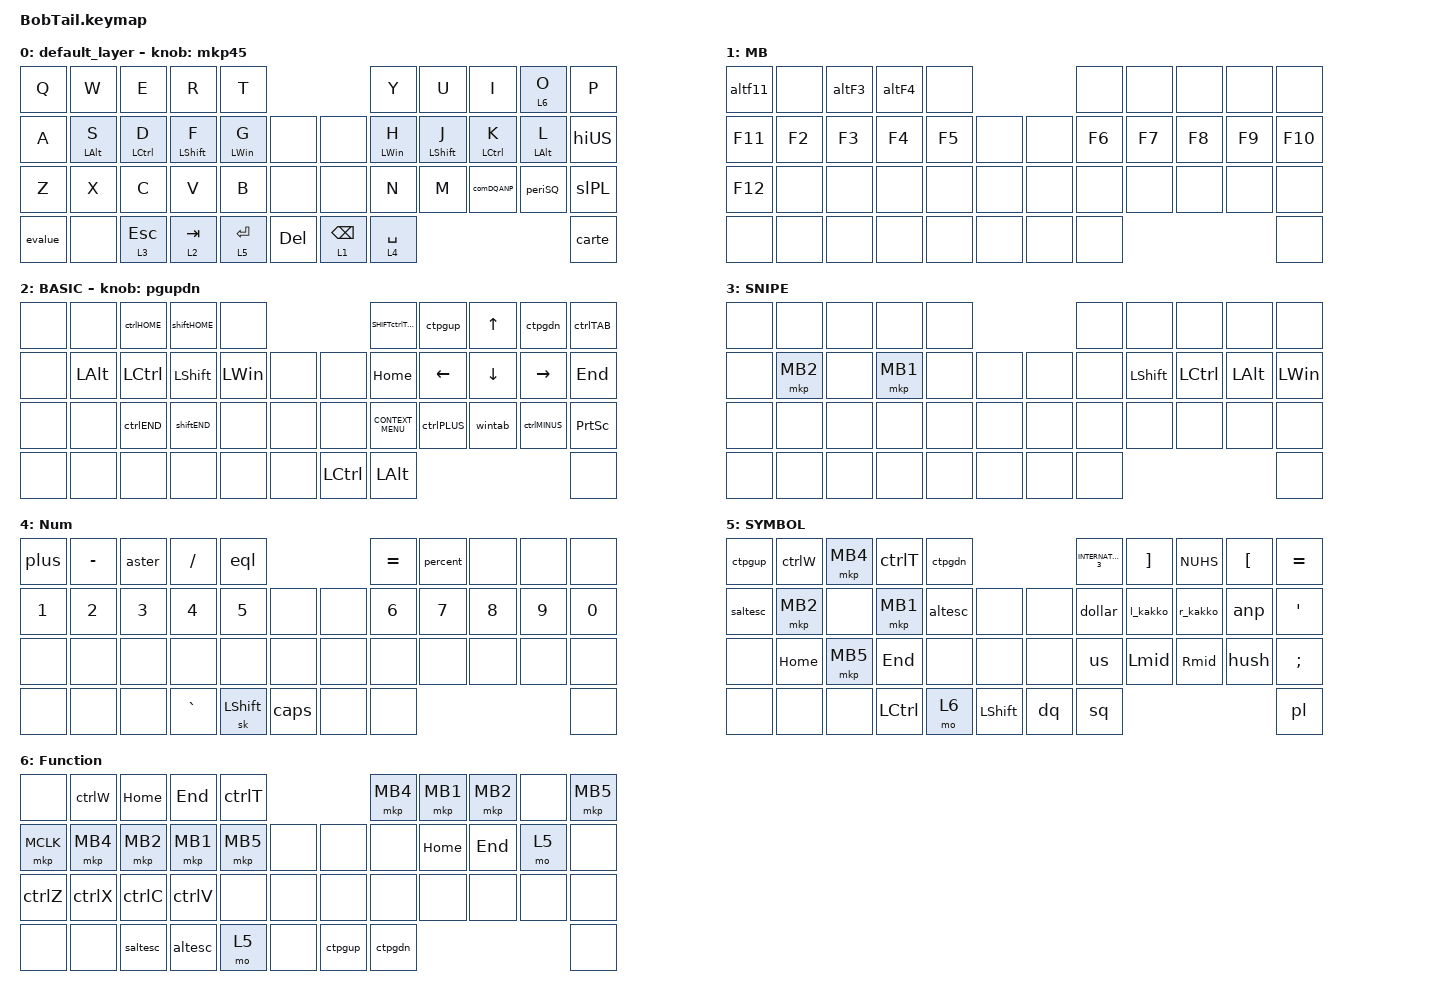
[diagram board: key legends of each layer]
#include <input/processors.dtsi>
#include <behaviors.dtsi>
#include <dt-bindings/zmk/keys.h>
#include <dt-bindings/zmk/pointing.h>

#define MOUSE 4
#define SCROLL 5
#define NUM 6
#define ZMK_POINTING_DEFAULT_SCRL_VAL 40

&mt {
    flavor = "balanced";
    quick-tap-ms = <0>;
};

/ {
    combos {
        compatible = "zmk,combos";

        L_MKK {
            bindings = <&kp RBKT>;
            key-positions = <2 12>;
        };

        R_MKK {
            bindings = <&kp NUHS>;
            key-positions = <7 19>;
        };

        L_KK {
            bindings = <&l_kakko>;
            key-positions = <3 13>;
        };

        R_KK {
            bindings = <&r_kakko>;
            key-positions = <6 18>;
        };

        Rmid {
            bindings = <&Rmid>;
            key-positions = <8 20>;
        };

        Lmid {
            bindings = <&Lmid>;
            key-positions = <1 11>;
        };

        pl {
            bindings = <&pl>;
            key-positions = <14 26>;
        };
    };

    behaviors {
        encoder_msc_down_up: encoder_msc_down_up {
            compatible = "zmk,behavior-sensor-rotate";
            label = "ENCODER_MSC_DOWN_UP";
            #sensor-binding-cells = <0>;
            bindings = <&msc SCRL_UP>, <&msc SCRL_DOWN>;

            tap-ms = <20>;
        };

        ctPLMI: ctPLMI {
            compatible = "zmk,behavior-sensor-rotate";
            label = "CTPLMI";
            #sensor-binding-cells = <0>;
            bindings = <&ctrlPLUS>, <&ctrlMINUS>;

            tap-ms = <20>;
        };

        mkp45: mkp45 {
            compatible = "zmk,behavior-sensor-rotate";
            label = "MKP45";
            #sensor-binding-cells = <0>;
            bindings = <&mkp MB4>, <&mkp MB5>;

            tap-ms = <20>;
        };

        appch: appch {
            compatible = "zmk,behavior-sensor-rotate";
            label = "APPCH";
            #sensor-binding-cells = <0>;
            bindings = <&altesc>, <&saltesc>;

            tap-ms = <20>;
        };

        pgupdn: pgupdn {
            compatible = "zmk,behavior-sensor-rotate";
            label = "PGUPDN";
            #sensor-binding-cells = <0>;
            bindings = <&kp PG_UP>, <&kp PG_DN>;

            tap-ms = <20>;
        };

        L_HRM: L_HRM {
            compatible = "zmk,behavior-hold-tap";
            label = "L_HRM";
            bindings = <&kp>, <&kp>;

            #binding-cells = <2>;
            tapping-term-ms = <300>;
            quick-tap-ms = <175>;
            require-prior-idle-ms = <150>;
            flavor = "balanced";
            hold-trigger-key-positions = <5 6 7 8 9 17 18 19 20 21 29 30 31 32 33 41 42 16 28 40>;
            hold-trigger-on-release;
        };

        R_HRM: R_HRM {
            compatible = "zmk,behavior-hold-tap";
            label = "R_HRM";
            bindings = <&kp>, <&kp>;

            #binding-cells = <2>;
            tapping-term-ms = <300>;
            quick-tap-ms = <175>;
            require-prior-idle-ms = <150>;
            flavor = "balanced";
            hold-trigger-key-positions = <0 1 2 3 4 10 11 12 13 14 15 22 23 24 25 26 27 34 35 36 37 38 39>;
            hold-trigger-on-release;
        };

        THUMB_MO_R: THUMB_MO_R {
            compatible = "zmk,behavior-hold-tap";
            label = "THUMB_MO_R";
            bindings = <&mo>, <&kp>;

            #binding-cells = <2>;
            tapping-term-ms = <170>;
            flavor = "balanced";
            hold-trigger-key-positions = <0 1 2 3 4 10 11 12 13 14 15 22 23 24 25 26 27 34 35 36 37 38 39>;
            hold-trigger-on-release;
        };

        COMDQ: COMDQ {
            compatible = "zmk,behavior-tap-dance";
            label = "COMDQ";
            #binding-cells = <0>;
            bindings = <&kp COMMA>, <&dq>;
        };

        MB45: MB45 {
            compatible = "zmk,behavior-tap-dance";
            label = "MB45";
            #binding-cells = <0>;
            bindings = <&mkp MB4>, <&mkp MB5>;
        };

        THUMB_MO_L: THUMB_MO_L {
            compatible = "zmk,behavior-hold-tap";
            label = "THUMB_MO_L";
            bindings = <&mo>, <&kp>;

            #binding-cells = <2>;
            tapping-term-ms = <170>;
            flavor = "balanced";
            hold-trigger-on-release;
            hold-trigger-key-positions = <5 6 7 8 9 16 17 18 19 20 21 28 29 30 31 32 33 40 41 42>;
        };

        MOL: MOL {
            compatible = "zmk,behavior-hold-tap";
            label = "MOL";
            bindings = <&mo>, <&kp>;

            #binding-cells = <2>;
            tapping-term-ms = <190>;
            require-prior-idle-ms = <170>;
            flavor = "balanced";
            hold-trigger-on-release;
        };

        comDQANP: comDQANP {
            compatible = "zmk,behavior-tap-dance";
            label = "COMDQANP";
            #binding-cells = <0>;
            bindings = <&kp COMMA>, <&dq>, <&anp>;
        };

        periSQ: periSQ {
            compatible = "zmk,behavior-tap-dance";
            label = "PERISQ";
            #binding-cells = <0>;
            bindings = <&kp PERIOD>, <&sq>;
        };

        slPL: slPL {
            compatible = "zmk,behavior-tap-dance";
            label = "SLPL";
            #binding-cells = <0>;
            bindings = <&kp SLASH>, <&pl>;
        };

        hiUS: hiUS {
            compatible = "zmk,behavior-tap-dance";
            label = "HIUS";
            #binding-cells = <0>;
            bindings = <&kp MINUS>, <&us>;
        };
    };

    macros {
        exc: exc {
            compatible = "zmk,behavior-macro";
            #binding-cells = <0>;
            bindings =
                <&macro_press>,
                <&kp LSHFT>,
                <&macro_wait_time 15>,
                <&kp NUMBER_1>,
                <&macro_release>,
                <&kp NUMBER_1 &kp LSHFT>;

            label = "EXC";
        };

        dq: dq {
            compatible = "zmk,behavior-macro";
            #binding-cells = <0>;
            bindings =
                <&macro_press>,
                <&kp LSHFT>,
                <&macro_wait_time 15>,
                <&kp NUMBER_2>,
                <&macro_release>,
                <&kp NUMBER_2 &kp LSHFT>;

            label = "DQ";
        };

        hush: hush {
            compatible = "zmk,behavior-macro";
            #binding-cells = <0>;
            bindings =
                <&macro_press>,
                <&kp LSHFT>,
                <&macro_wait_time 15>,
                <&kp NUMBER_3>,
                <&macro_release>,
                <&kp NUMBER_3 &kp LSHFT>;

            label = "HUSH";
        };

        dollar: dollar {
            compatible = "zmk,behavior-macro";
            #binding-cells = <0>;
            bindings =
                <&macro_press>,
                <&kp LSHFT>,
                <&macro_wait_time 15>,
                <&kp NUMBER_4>,
                <&macro_release>,
                <&kp NUMBER_4 &kp LSHFT>;

            label = "DOLLAR";
        };

        percent: percent {
            compatible = "zmk,behavior-macro";
            #binding-cells = <0>;
            bindings =
                <&macro_press>,
                <&kp LSHFT>,
                <&macro_wait_time 15>,
                <&kp N5>,
                <&macro_release>,
                <&kp N5 &kp LSHFT>;

            label = "PERCENT";
        };

        anp: anp {
            compatible = "zmk,behavior-macro";
            #binding-cells = <0>;
            bindings =
                <&macro_press>,
                <&kp LSHFT>,
                <&macro_wait_time 15>,
                <&kp NUMBER_6>,
                <&macro_release>,
                <&kp NUMBER_6 &kp LSHFT>;

            label = "ANP";
        };

        sq: sq {
            compatible = "zmk,behavior-macro";
            #binding-cells = <0>;
            bindings =
                <&macro_press>,
                <&kp LSHFT>,
                <&macro_wait_time 15>,
                <&kp N7>,
                <&macro_release>,
                <&kp N7 &kp LSHFT>;

            label = "SQ";
        };

        l_kakko: l_kakko {
            compatible = "zmk,behavior-macro";
            #binding-cells = <0>;
            bindings =
                <&macro_press>,
                <&kp LSHFT>,
                <&macro_wait_time 15>,
                <&kp N8>,
                <&macro_release>,
                <&kp N8 &kp LSHFT>;

            label = "L_KAKKO";
        };

        r_kakko: r_kakko {
            compatible = "zmk,behavior-macro";
            #binding-cells = <0>;
            bindings =
                <&macro_press>,
                <&kp LSHFT>,
                <&macro_wait_time 15>,
                <&kp N9>,
                <&macro_release>,
                <&kp N9 &kp LSHFT>;

            label = "R_KAKKO";
        };

        us: us {
            compatible = "zmk,behavior-macro";
            #binding-cells = <0>;
            bindings =
                <&macro_press>,
                <&kp LSHFT>,
                <&macro_wait_time 15>,
                <&kp INTERNATIONAL_1>,
                <&macro_release>,
                <&kp INTERNATIONAL_1 &kp LSHFT>;

            label = "US";
        };

        pl: pl {
            compatible = "zmk,behavior-macro";
            #binding-cells = <0>;
            bindings =
                <&macro_press>,
                <&kp LSHFT>,
                <&macro_wait_time 15>,
                <&kp INTERNATIONAL_3>,
                <&macro_release>,
                <&kp INTERNATIONAL_3 &kp LSHFT>;

            label = "PL";
        };

        eql: eql {
            compatible = "zmk,behavior-macro";
            #binding-cells = <0>;
            bindings =
                <&macro_press>,
                <&kp LSHFT>,
                <&macro_wait_time 15>,
                <&kp MINUS>,
                <&macro_release>,
                <&kp MINUS &kp LSHFT>;

            label = "EQL";
        };

        tilde: tilde {
            compatible = "zmk,behavior-macro";
            #binding-cells = <0>;
            bindings =
                <&macro_press>,
                <&kp LSHFT>,
                <&macro_wait_time 15>,
                <&kp EQUAL>,
                <&macro_release>,
                <&kp EQUAL &kp LSHFT>;

            label = "TILDE";
        };

        plus: plus {
            compatible = "zmk,behavior-macro";
            #binding-cells = <0>;
            bindings =
                <&macro_press>,
                <&kp LSHFT>,
                <&macro_wait_time 15>,
                <&kp SEMI>,
                <&macro_release>,
                <&kp SEMI &kp LSHFT>;

            label = "PLUS";
        };

        aster: aster {
            compatible = "zmk,behavior-macro";
            #binding-cells = <0>;
            bindings =
                <&macro_press>,
                <&kp LSHFT>,
                <&macro_wait_time 15>,
                <&kp SINGLE_QUOTE>,
                <&macro_release>,
                <&kp SINGLE_QUOTE &kp LSHFT>;

            label = "ASTER";
        };

        altesc: altesc {
            compatible = "zmk,behavior-macro";
            #binding-cells = <0>;
            bindings =
                <&macro_press>,
                <&kp LEFT_ALT>,
                <&macro_wait_time 15>,
                <&kp ESCAPE>,
                <&macro_release>,
                <&kp ESCAPE &kp LEFT_ALT>;

            label = "ALTESC";
        };

        saltesc: saltesc {
            compatible = "zmk,behavior-macro";
            #binding-cells = <0>;
            bindings =
                <&macro_press>,
                <&kp LSHFT &kp LEFT_ALT>,
                <&macro_wait_time 15>,
                <&kp ESCAPE>,
                <&macro_release>,
                <&kp ESCAPE &kp LEFT_ALT &kp LSHFT>;

            label = "SALTESC";
        };

        ctpgup: ctpgup {
            compatible = "zmk,behavior-macro";
            #binding-cells = <0>;
            bindings =
                <&macro_press>,
                <&kp LCTRL>,
                <&macro_wait_time 15>,
                <&kp PG_UP>,
                <&macro_release>,
                <&kp PG_UP &kp LCTRL>;

            label = "CTPGUP";
        };

        ctpgdn: pgdn {
            compatible = "zmk,behavior-macro";
            #binding-cells = <0>;
            bindings =
                <&macro_press>,
                <&kp LCTRL>,
                <&macro_wait_time 15>,
                <&kp PAGE_DOWN>,
                <&macro_release>,
                <&kp PAGE_DOWN &kp LCTRL>;

            label = "PGDN";
        };

        Lmid: Lmid {
            compatible = "zmk,behavior-macro";
            #binding-cells = <0>;
            bindings =
                <&macro_press>,
                <&kp LSHFT>,
                <&macro_wait_time 15>,
                <&kp RBKT>,
                <&macro_release>,
                <&kp RBKT &kp LSHFT>;

            label = "LMID";
        };

        Rmid: Rmid {
            compatible = "zmk,behavior-macro";
            #binding-cells = <0>;
            bindings =
                <&macro_press>,
                <&kp LSHFT>,
                <&macro_wait_time 15>,
                <&kp NUHS>,
                <&macro_release>,
                <&kp NUHS &kp LSHFT>;

            label = "RMID";
        };

        wintab: wintab {
            compatible = "zmk,behavior-macro";
            #binding-cells = <0>;
            bindings =
                <&macro_press>,
                <&kp LWIN>,
                <&macro_wait_time 15>,
                <&kp TAB>,
                <&macro_release>,
                <&kp TAB &kp LWIN>;

            label = "WINTAB";
        };

        ctrlW: ctrlW {
            compatible = "zmk,behavior-macro";
            #binding-cells = <0>;
            bindings =
                <&macro_press>,
                <&kp LCTRL>,
                <&macro_wait_time 15>,
                <&kp W>,
                <&macro_release>,
                <&kp W &kp LCTRL>;

            label = "CTRLW";
        };

        altF4: altF4 {
            compatible = "zmk,behavior-macro";
            #binding-cells = <0>;
            bindings =
                <&macro_press>,
                <&kp LEFT_ALT>,
                <&macro_wait_time 15>,
                <&kp F4>,
                <&macro_release>,
                <&kp F4 &kp LEFT_ALT>;

            label = "ALTF4";
        };

        ctrlT: ctrlT {
            compatible = "zmk,behavior-macro";
            #binding-cells = <0>;
            bindings =
                <&macro_press>,
                <&kp LCTRL>,
                <&macro_wait_time 15>,
                <&kp T>,
                <&macro_release>,
                <&kp T &kp LCTRL>;

            label = "CTRLT";
        };

        carte: carte {
            compatible = "zmk,behavior-macro";
            #binding-cells = <0>;
            bindings =
                <&kp N3 &kp N7 &kp N0 &kp N8 &kp TAB>,
                <&macro_wait_time 10>,
                <&kp Q &kp W &kp E &kp R &kp T &kp Y &kp U &kp I &kp O &kp P &kp N1 &kp N2 &kp N3 &kp ENTER>;

            label = "CARTE";
        };

        evalue: evalue {
            compatible = "zmk,behavior-macro";
            #binding-cells = <0>;
            bindings =
                <&kp N3 &kp N7 &kp N0 &kp N8 &kp TAB>,
                <&macro_wait_time 10>,
                <&kp N0 &kp N8 &kp N6 &kp N2 &kp ENTER>;

            label = "EVALUE";
        };

        altF3: altF3 {
            compatible = "zmk,behavior-macro";
            #binding-cells = <0>;
            bindings =
                <&macro_press>,
                <&kp LEFT_ALT>,
                <&macro_wait_time 15>,
                <&kp F3>,
                <&macro_release>,
                <&kp F3 &kp LEFT_ALT>;

            label = "ALTF3";
        };

        altf11: altf11 {
            compatible = "zmk,behavior-macro";
            #binding-cells = <0>;
            bindings =
                <&macro_press>,
                <&kp LEFT_ALT>,
                <&macro_wait_time 15>,
                <&kp F11>,
                <&macro_release>,
                <&kp F11 &kp LEFT_ALT>;

            label = "ALTF11";
        };

        shiftapp: shiftapp {
            compatible = "zmk,behavior-macro";
            #binding-cells = <0>;
            bindings =
                <&macro_press>,
                <&kp LSHFT>,
                <&macro_wait_time 15>,
                <&kp K_CONTEXT_MENU>,
                <&macro_release>,
                <&kp K_CONTEXT_MENU &kp LSHFT>;

            label = "SHIFTAPP";
        };

        altprsc: altprsc {
            compatible = "zmk,behavior-macro";
            #binding-cells = <0>;
            bindings =
                <&macro_press>,
                <&kp LEFT_ALT>,
                <&macro_wait_time 15>,
                <&kp PRINTSCREEN>,
                <&macro_release>,
                <&kp PRINTSCREEN &kp LEFT_ALT>;

            label = "ALTPRSC";
        };

        shiftHOME: shiftHOME {
            compatible = "zmk,behavior-macro";
            #binding-cells = <0>;
            bindings =
                <&macro_press>,
                <&kp LSHFT>,
                <&macro_wait_time 15>,
                <&kp HOME>,
                <&macro_release>,
                <&kp HOME &kp LSHFT>;

            label = "SHIFTHOME";
        };

        shiftEND: shiftEND {
            compatible = "zmk,behavior-macro";
            #binding-cells = <0>;
            bindings =
                <&macro_press>,
                <&kp LSHFT>,
                <&macro_wait_time 15>,
                <&kp END>,
                <&macro_release>,
                <&kp END &kp LSHFT>;

            label = "SHIFTEND";
        };

        ctHOME: ctHOME {
            compatible = "zmk,behavior-macro";
            #binding-cells = <0>;
            bindings =
                <&macro_press>,
                <&kp LCTRL>,
                <&macro_wait_time 15>,
                <&kp HOME>,
                <&macro_release>,
                <&kp HOME &kp LCTRL>;

            label = "CTHOME";
        };

        ctEND: ctEND {
            compatible = "zmk,behavior-macro";
            #binding-cells = <0>;
            bindings =
                <&macro_press>,
                <&kp LCTRL>,
                <&macro_wait_time 15>,
                <&kp END>,
                <&macro_release>,
                <&kp END &kp LCTRL>;

            label = "CTEND";
        };

        ctrlPLUS: ctrlPLUS {
            compatible = "zmk,behavior-macro";
            #binding-cells = <0>;
            bindings =
                <&macro_press>,
                <&kp LCTRL>,
                <&macro_wait_time 15>,
                <&kp SEMI>,
                <&macro_release>,
                <&kp SEMI &kp LCTRL>;

            label = "CTRLPLUS";
        };

        ctrlMINUS: ctrlMINUS {
            compatible = "zmk,behavior-macro";
            #binding-cells = <0>;
            bindings =
                <&macro_press>,
                <&kp LCTRL>,
                <&macro_wait_time 15>,
                <&kp MINUS>,
                <&macro_release>,
                <&kp MINUS &kp LCTRL>;

            label = "CTRLMINUS";
        };

        ctrlUP: ctrlUP {
            compatible = "zmk,behavior-macro";
            #binding-cells = <0>;
            bindings =
                <&macro_press>,
                <&kp LCTRL>,
                <&macro_wait_time 15>,
                <&kp UP_ARROW>,
                <&macro_release>,
                <&kp UP_ARROW &kp LCTRL>;

            label = "CTRLUP";
        };

        ctrlDOWN: ctrlDOWN {
            compatible = "zmk,behavior-macro";
            #binding-cells = <0>;
            bindings =
                <&macro_press>,
                <&kp LCTRL>,
                <&macro_wait_time 15>,
                <&kp DOWN>,
                <&macro_release>,
                <&kp DOWN_ARROW &kp LCTRL>;

            label = "CTRLDOWN";
        };

        ctrlLEFT: ctrlLEFT {
            compatible = "zmk,behavior-macro";
            #binding-cells = <0>;
            bindings =
                <&macro_press>,
                <&kp LCTRL>,
                <&macro_wait_time 15>,
                <&kp LEFT_ARROW>,
                <&macro_release>,
                <&kp LEFT_ARROW &kp LCTRL>;

            label = "CTRLLEFT";
        };

        ctrlRIGHT: ctrlRIGHT {
            compatible = "zmk,behavior-macro";
            #binding-cells = <0>;
            bindings =
                <&macro_press>,
                <&kp LCTRL>,
                <&macro_wait_time 15>,
                <&kp RIGHT>,
                <&macro_release>,
                <&kp RIGHT &kp LCTRL>;

            label = "CTRLRIGHT";
        };

        ctrlHOME: ctrlHOME {
            compatible = "zmk,behavior-macro";
            #binding-cells = <0>;
            bindings =
                <&macro_press>,
                <&kp LCTRL>,
                <&macro_wait_time 15>,
                <&kp HOME>,
                <&macro_release>,
                <&kp HOME &kp LCTRL>;

            label = "CTRLHOME";
        };

        ctrlEND: ctrlEND {
            compatible = "zmk,behavior-macro";
            #binding-cells = <0>;
            bindings =
                <&macro_press>,
                <&kp LCTRL>,
                <&macro_wait_time 15>,
                <&kp END>,
                <&macro_release>,
                <&kp END &kp LCTRL>;

            label = "CTRLEND";
        };

        ctrlTAB: ctrlTAB {
            compatible = "zmk,behavior-macro";
            #binding-cells = <0>;
            bindings =
                <&macro_press>,
                <&kp LCTRL>,
                <&macro_wait_time 15>,
                <&kp TAB>,
                <&macro_release>,
                <&kp TAB &kp LCTRL>;

            label = "CTRLTAB";
        };

        SHIFTctrlTAB: SHIFTctrlTAB {
            compatible = "zmk,behavior-macro";
            #binding-cells = <0>;
            bindings =
                <&macro_press>,
                <&kp LCTRL &kp LSHFT>,
                <&macro_wait_time 15>,
                <&kp TAB>,
                <&macro_release>,
                <&kp TAB &kp LCTRL &kp LSHFT>;

            label = "SHIFTCTRLTAB";
        };

        caps: caps {
            compatible = "zmk,behavior-macro";
            #binding-cells = <0>;
            bindings =
                <&macro_press>,
                <&kp LSHFT>,
                <&macro_wait_time 15>,
                <&kp CAPSLOCK>,
                <&macro_release>,
                <&kp CAPSLOCK &kp LSHFT>;

            label = "CAPS";
        };

        ctrlC: ctrlC {
            compatible = "zmk,behavior-macro";
            #binding-cells = <0>;
            bindings =
                <&macro_press>,
                <&kp LCTRL>,
                <&macro_wait_time 15>,
                <&kp C>,
                <&macro_release>,
                <&kp C &kp LCTRL>;

            label = "CTRLC";
        };

        ctrlV: ctrlV {
            compatible = "zmk,behavior-macro";
            #binding-cells = <0>;
            bindings =
                <&macro_press>,
                <&kp LCTRL>,
                <&macro_wait_time 15>,
                <&kp V>,
                <&macro_release>,
                <&kp V &kp LCTRL>;

            label = "CTRLV";
        };

        ctrlX: ctrlX {
            compatible = "zmk,behavior-macro";
            #binding-cells = <0>;
            bindings =
                <&macro_press>,
                <&kp LCTRL>,
                <&macro_wait_time 15>,
                <&kp X>,
                <&macro_release>,
                <&kp X &kp LCTRL>;

            label = "CTRLX";
        };

        ctrlZ: ctrlZ {
            compatible = "zmk,behavior-macro";
            #binding-cells = <0>;
            bindings =
                <&macro_press>,
                <&kp LCTRL>,
                <&macro_wait_time 15>,
                <&kp Z>,
                <&macro_release>,
                <&kp Z &kp LCTRL>;

            label = "CTRLZ";
        };
    };

    keymap {
        compatible = "zmk,keymap";

        default_layer {
            bindings = <
&kp Q    &kp W              &kp E                 &kp R              &kp T                                                         &kp Y                &kp U           &kp I           &MOL 6 O       &kp P
&kp A    &L_HRM LEFT_ALT S  &L_HRM LCTRL D        &L_HRM LSHFT F     &L_HRM LWIN G        &none           &none                    &R_HRM LWIN H        &R_HRM LSHFT J  &R_HRM LCTRL K  &R_HRM LALT L  &hiUS
&kp Z    &kp X              &kp C                 &kp V              &kp B                &none           &none                    &kp N                &kp M           &comDQANP       &periSQ        &slPL
&evalue  &none              &THUMB_MO_R 3 ESCAPE  &THUMB_MO_L 2 TAB  &THUMB_MO_L 5 ENTER  &kp DELETE      &THUMB_MO_R 1 BACKSPACE  &THUMB_MO_R 4 SPACE                                                 &carte
            >;

            sensor-bindings = <&mkp45>;
        };

        MB {
            bindings = <
&altf11  &none   &altF3  &altF4  &none                     &none   &none   &none   &none   &none
&kp F11  &kp F2  &kp F3  &kp F4  &kp F5  &none      &none  &kp F6  &kp F7  &kp F8  &kp F9  &kp F10
&kp F12  &none   &none   &none   &none   &none      &none  &none   &none   &none   &none   &none
&none    &none   &none   &none   &none   &none      &none  &none                           &none
            >;
        };

        BASIC {
            bindings = <
&none  &none         &ctrlHOME  &shiftHOME      &none                           &SHIFTctrlTAB       &ctpgup         &kp UP_ARROW    &ctpgdn     &ctrlTAB
&none  &kp LEFT_ALT  &kp LCTRL  &kp LEFT_SHIFT  &kp LWIN  &none      &none      &kp HOME            &kp LEFT_ARROW  &kp DOWN_ARROW  &kp RIGHT   &kp END
&none  &none         &ctrlEND   &shiftEND       &none     &none      &none      &kp K_CONTEXT_MENU  &ctrlPLUS       &wintab         &ctrlMINUS  &kp PRINTSCREEN
&none  &none         &none      &none           &none     &none      &kp LCTRL  &kp LEFT_ALT                                                    &none
            >;

            sensor-bindings = <&pgupdn>;
        };

        SNIPE {
            bindings = <
&none  &none     &none  &none     &none                    &none  &none      &none      &none         &none
&none  &mkp MB2  &none  &mkp MB1  &none  &none      &none  &none  &kp LSHFT  &kp LCTRL  &kp LEFT_ALT  &kp LWIN
&none  &none     &none  &none     &none  &none      &none  &none  &none      &none      &none         &none
&none  &none     &none  &none     &none  &none      &none  &none                                      &none
            >;
        };

        Num {
            bindings = <
&plus   &kp MINUS  &aster  &kp SLASH  &eql                         &kp EQUAL  &percent  &none   &none   &none
&kp N1  &kp N2     &kp N3  &kp N4     &kp N5     &none      &none  &kp N6     &kp N7    &kp N8  &kp N9  &kp N0
&none   &none      &none   &none      &none      &none      &none  &none      &none     &none   &none   &none
&none   &none      &none   &kp GRAVE  &sk LSHFT  &caps      &none  &none                                &none
            >;
        };

        SYMBOL {
            bindings = <
&ctpgup   &ctrlW    &mkp MB4  &ctrlT     &ctpgdn                        &kp INTERNATIONAL_3  &kp RBKT  &kp NUHS  &kp LBKT  &kp EQUAL
&saltesc  &mkp MB2  &none     &mkp MB1   &altesc  &none          &none  &dollar              &l_kakko  &r_kakko  &anp      &kp APOSTROPHE
&none     &kp HOME  &mkp MB5  &kp END    &none    &none          &none  &us                  &Lmid     &Rmid     &hush     &kp SEMI
&none     &none     &none     &kp LCTRL  &mo 6    &kp LSHFT      &dq    &sq                                                &pl
            >;
        };

        Function {
            bindings = <
&none      &ctrlW    &kp HOME  &kp END   &ctrlT                        &mkp MB4  &mkp MB1  &mkp MB2  &none  &mkp MB5
&mkp MCLK  &mkp MB4  &mkp MB2  &mkp MB1  &mkp MB5  &none      &none    &none     &kp HOME  &kp END   &mo 5  &none
&ctrlZ     &ctrlX    &ctrlC    &ctrlV    &none     &none      &none    &none     &none     &none     &none  &none
&none      &none     &saltesc  &altesc   &mo 5     &none      &ctpgup  &ctpgdn                              &none
            >;
        };
    };
};
